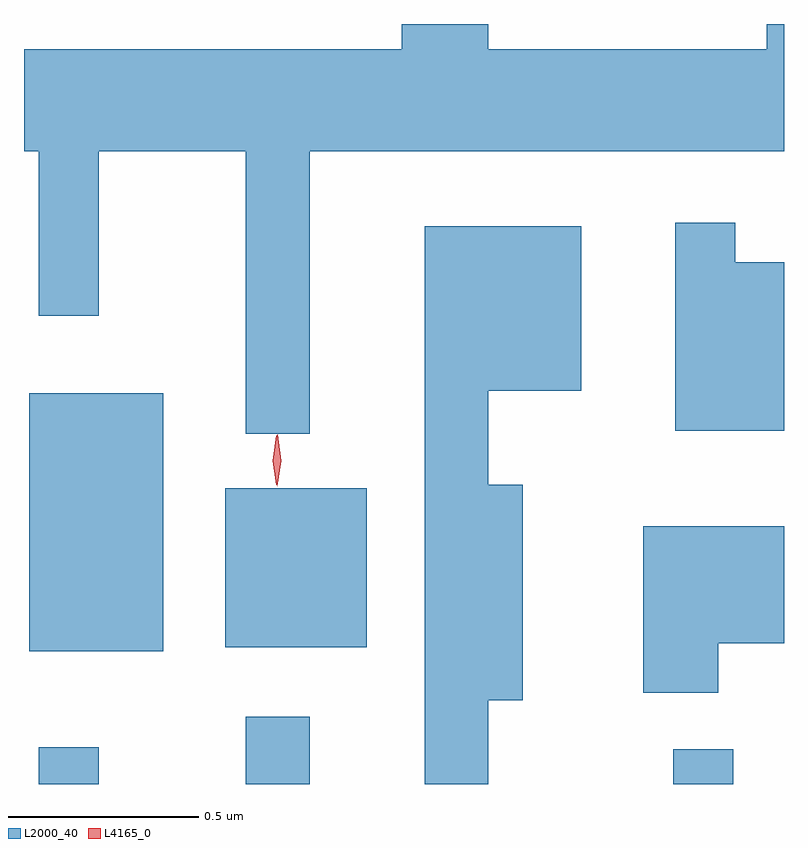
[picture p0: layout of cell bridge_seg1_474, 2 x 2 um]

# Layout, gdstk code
import gdstk
lib = gdstk.Library(unit=1e-6, precision=1e-09)
def R(c, l, rs):  # rectangles x0, y0, x1, y1
    for r in rs: c.add(gdstk.rectangle(r[:2], r[2:], *l))
def P(c, l, *ps):  # polygons
    for p in ps: c.add(gdstk.Polygon(p, *l))
L2000_40 = (2000, 40)
L4165_0 = (4165, 0)

bridge_seg1_474 = lib.new_cell('bridge_seg1_474')
R(bridge_seg1_474, L2000_40, [(243.296,855.731,243.454,855.828), (243.841,855.731,244.009,855.908), (244.966,855.731,245.124,855.823), (243.271,856.081,243.624,856.759), (243.786,856.091,244.159,856.509)])
P(bridge_seg1_474, L2000_40, [(244.009,857.396),(245.257,857.396),(245.257,857.731),(245.211,857.731),(245.211,857.664),(244.479,857.664),(244.479,857.731),(244.251,857.731),(244.251,857.664),(243.257,857.664),(243.257,857.396),(243.296,857.396),(243.296,856.963),(243.454,856.963),(243.454,857.396),(243.841,857.396),(243.841,856.653),(244.009,856.653)],
  [(245.257,857.104),(245.129,857.104),(245.129,857.208),(244.971,857.208),(244.971,856.661),(245.257,856.661)],
  [(244.479,855.951),(244.569,855.951),(244.569,856.519),(244.479,856.519),(244.479,856.766),(244.724,856.766),(244.724,857.199),(244.311,857.199),(244.311,855.731),(244.479,855.731)],
  [(245.084,856.101),(245.257,856.101),(245.257,856.409),(244.886,856.409),(244.886,855.971),(245.084,855.971)])
P(bridge_seg1_474, L4165_0, [(243.924,856.514),(243.924,856.514),(243.914,856.582),(243.924,856.65),(243.925,856.65),(243.925,856.65),(243.934,856.582),(243.924,856.514)],
  [(243.921,856.518),(243.921,856.518),(243.912,856.582),(243.921,856.647),(243.921,856.647),(243.922,856.647),(243.931,856.582),(243.922,856.518)])

lib.write_gds('bridge_seg1_474.gds')
